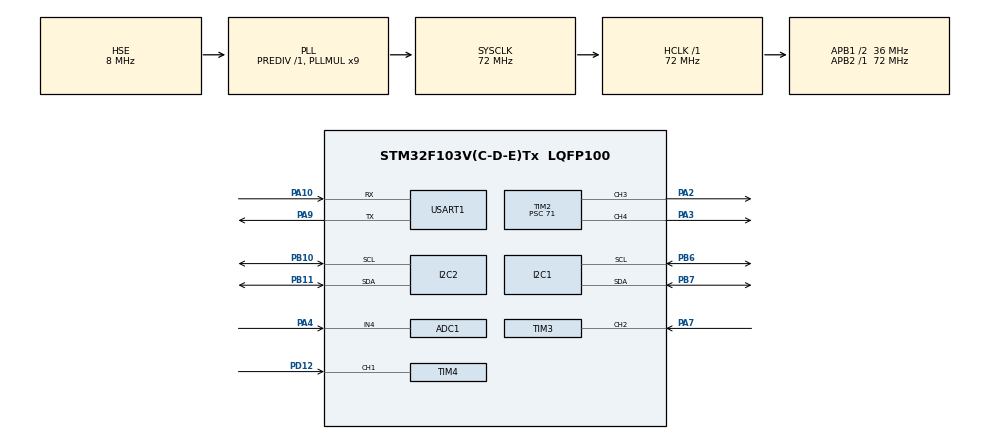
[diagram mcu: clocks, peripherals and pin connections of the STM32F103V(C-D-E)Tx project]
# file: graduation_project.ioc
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ADC1.Channel-4\#ChannelRegularConversion=ADC_CHANNEL_4
ADC1.ContinuousConvMode=ENABLE
ADC1.EnableInjectedConversion=DISABLE
ADC1.NbrOfConversionFlag=1
ADC1.Rank-4\#ChannelRegularConversion=1
ADC1.SamplingTime-4\#ChannelRegularConversion=ADC_SAMPLETIME_239CYCLES_5
ADC1.master=1
Dma.Request0=USART1_TX
Dma.Request1=USART1_RX
Dma.USART1_RX.1.Direction=DMA_PERIPH_TO_MEMORY
Dma.USART1_RX.1.Instance=DMA1_Channel5
Dma.USART1_RX.1.MemDataAlignment=DMA_MDATAALIGN_BYTE
Dma.USART1_RX.1.MemInc=DMA_MINC_ENABLE
Dma.USART1_RX.1.Mode=DMA_CIRCULAR
Dma.USART1_RX.1.PeriphDataAlignment=DMA_PDATAALIGN_BYTE
Dma.USART1_RX.1.PeriphInc=DMA_PINC_DISABLE
Dma.USART1_RX.1.Priority=DMA_PRIORITY_LOW
Dma.USART1_TX.0.Direction=DMA_MEMORY_TO_PERIPH
Dma.USART1_TX.0.Instance=DMA1_Channel4
Dma.USART1_TX.0.MemDataAlignment=DMA_MDATAALIGN_BYTE
Dma.USART1_TX.0.MemInc=DMA_MINC_ENABLE
Dma.USART1_TX.0.Mode=DMA_NORMAL
Dma.USART1_TX.0.PeriphDataAlignment=DMA_PDATAALIGN_BYTE
Dma.USART1_TX.0.PeriphInc=DMA_PINC_DISABLE
Dma.USART1_TX.0.Priority=DMA_PRIORITY_LOW
Mcu.Family=STM32F1
Mcu.Name=STM32F103V(C-D-E)Tx
Mcu.Package=LQFP100
NVIC.DMA1_Channel4_IRQn=true\:0\:0\:false\:false\:true\:false\:true
NVIC.DMA1_Channel5_IRQn=true\:0\:0\:false\:false\:true\:false\:true
NVIC.I2C1_EV_IRQn=true\:0\:0\:false\:false\:true\:true\:true
NVIC.I2C2_EV_IRQn=true\:0\:0\:false\:false\:true\:true\:true
NVIC.PriorityGroup=NVIC_PRIORITYGROUP_4
NVIC.TIM3_IRQn=true\:12\:0\:true\:false\:true\:true\:true
NVIC.TIM4_IRQn=true\:11\:0\:true\:false\:true\:true\:true
NVIC.USART1_IRQn=true\:0\:0\:false\:false\:true\:true\:true
OSC_IN.Mode=HSE-External-Oscillator
OSC_IN.Signal=RCC_OSC_IN
OSC_OUT.Mode=HSE-External-Oscillator
OSC_OUT.Signal=RCC_OSC_OUT
PA10.Mode=Asynchronous
PA10.Signal=USART1_RX
PA13.Mode=Serial_Wire
PA13.Signal=SYS_JTMS-SWDIO
PA14.Mode=Serial_Wire
PA14.Signal=SYS_JTCK-SWCLK
PA2.Signal=S_TIM2_CH3
PA3.Signal=S_TIM2_CH4
PA4.Signal=ADCx_IN4
PA7.GPIO_PuPd=GPIO_PULLDOWN
PA7.Signal=S_TIM3_CH2
PA9.Mode=Asynchronous
PA9.Signal=USART1_TX
PB10.Mode=I2C
PB10.Signal=I2C2_SCL
PB11.Mode=I2C
PB11.Signal=I2C2_SDA
PB6.Mode=I2C
PB6.Signal=I2C1_SCL
PB7.Mode=I2C
PB7.Signal=I2C1_SDA
PD12.Signal=S_TIM4_CH1
ProjectManager.HeapSize=0x200
ProjectManager.StackSize=0x400
ProjectManager.TargetToolchain=MDK-ARM V5.32
RCC.ADCPresc=RCC_ADCPCLK2_DIV6
RCC.AHBFreq_Value=72000000
RCC.APB1CLKDivider=RCC_HCLK_DIV2
RCC.APB1Freq_Value=36000000
RCC.APB1TimFreq_Value=72000000
RCC.APB2Freq_Value=72000000
RCC.APB2TimFreq_Value=72000000
RCC.HCLKFreq_Value=72000000
RCC.PLLMUL=RCC_PLL_MUL9
RCC.PLLSourceVirtual=RCC_PLLSOURCE_HSE
RCC.SYSCLKFreq_VALUE=72000000
RCC.SYSCLKSource=RCC_SYSCLKSOURCE_PLLCLK
RCC.USBFreq_Value=72000000
SH.ADCx_IN4.0=ADC1_IN4,IN4
SH.S_TIM2_CH3.0=TIM2_CH3,PWM Generation3 CH3
SH.S_TIM2_CH4.0=TIM2_CH4,PWM Generation4 CH4
SH.S_TIM3_CH2.0=TIM3_CH2,Input_Capture2_from_TI2
SH.S_TIM4_CH1.0=TIM4_CH1,Input_Capture1_from_TI1
TIM2.Channel-PWM\ Generation3\ CH3=TIM_CHANNEL_3
TIM2.Channel-PWM\ Generation4\ CH4=TIM_CHANNEL_4
TIM2.Period=499
TIM2.Prescaler=71
TIM3.AutoReloadPreload=TIM_AUTORELOAD_PRELOAD_ENABLE
TIM3.Channel-Input_Capture2_from_TI2=TIM_CHANNEL_2
TIM3.ICFilter_CH2=0
TIM3.Period=65535
TIM3.Prescaler=71
TIM4.Channel-Input_Capture1_from_TI1=TIM_CHANNEL_1
TIM4.Period=10000-1
TIM4.Prescaler=71
USART1.VirtualMode=VM_ASYNC
VP_TIM2_VS_ClockSourceINT.Mode=Internal
VP_TIM3_VS_ClockSourceINT.Mode=Internal
VP_TIM4_VS_ClockSourceINT.Mode=Internal
board=custom

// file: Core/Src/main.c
/* USER CODE BEGIN Header */
/**
 ******************************************************************************
 * @file           : main.c
 * @brief          : Main program body
 ******************************************************************************
 * @attention
 *
 * Copyright (c) 2022 STMicroelectronics.
 * All rights reserved.
 *
 * This software is licensed under terms that can be found in the LICENSE file
 * in the root directory of this software component.
 * If no LICENSE file comes with this software, it is provided AS-IS.
 *
 ******************************************************************************
 */
/* USER CODE END Header */
#include "main.h"
#include "adc.h"
#include "dma.h"
#include "i2c.h"
#include "tim.h"
#include "usart.h"
#include "gpio.h"

/* USER CODE BEGIN Includes */
#include "DewSensor.h"
#include "pid.h"
#include "WaterPump.h"
#include "AHT10.h"
#include "TypeConversion.h"
#include "stdio.h"
#include "SerialDebug.h"
#include "Filter.h"
#include "FlowSensor.h"
/* USER CODE END Includes */

/* USER CODE BEGIN PV */
uint16_t duty = 0;
uint16_t duty1 = 10;
float DewSensor_humidity, DewSensor_resister, humidity;
uint8_t humidity_int = 0;
float AHT10_humidity, AHT10_temperature;
Pid_T pid;
float pid_Set = 55;
float region = 2;
AveFilter Filter;
float flowrate;
/* USER CODE END PV */

void SystemClock_Config(void);

int main(void)
{

  /* MCU Configuration--------------------------------------------------------*/

  /* Reset of all peripherals, Initializes the Flash interface and the Systick. */
  HAL_Init();

  /* Configure the system clock */
  SystemClock_Config();

  /* Initialize all configured peripherals */
  MX_GPIO_Init();
  MX_TIM2_Init();
  MX_I2C1_Init();
  MX_ADC1_Init();
  MX_DMA_Init();
  MX_USART1_UART_Init();
  MX_I2C2_Init();
  MX_TIM3_Init();
  MX_TIM4_Init();
  /* USER CODE BEGIN 2 */

  DewSensor_Init();
  AHT10_Init();
  PidInit(&pid, -20, -0.1, 0, 100, 100);
  WaterPump_Init();
  AverageFilterInit(&Filter);
  Flowsensor_Init(&capturecal);
  //	Serial_Debug_Init(&huart1);
  /* USER CODE END 2 */

  /* Infinite loop */
  while (1)
  {

    /* USER CODE BEGIN 3 */
    DewSensor_GetData(&DewSensor_humidity, &DewSensor_resister);
    AHT10_Read_predata(&AHT10_humidity, &AHT10_temperature);
    //flowrate = Flowsensor_YFs401(&capturecal);
		flowrate = Flowsensor_PS2216(&capturecal);
    //    if (DewSensor_humidity >= 94)
    //      humidity = DewSensor_humidity;
    //    else if (DewSensor_humidity >= 92 && DewSensor_humidity < 94)
    //      humidity = (DewSensor_humidity + AHT10_humidity) / 2;
    //    else
    //      humidity = AHT10_humidity;

    // duty = (uint16_t)PidCalculate(&pid, pid_Set, AHT10_temperature);
    duty = (uint16_t)IntergralSeparationPTD(&pid, pid_Set, AHT10_temperature, region);
	  float DewSensor_later_resister = AverageFilter(&Filter, DewSensor_resister);
		//if(DewSensor_later_resister>=30)
    //duty1=3;
    WaterPump_Speed(&duty1);

    //  FloatToUint8(&humidity_int, &humidity, 1);

    //    HAL_UART_Transmit(&huart1, "X1=100,", sizeof("X1=100,"), 1000);
    //		printf("X2=100,");
    //    //    HAL_UART_Transmit(&huart1, &humidity_int, sizeof(humidity_int), 1000);
    //    //    HAL_UART_Transmit(&huart1, "\r\n", sizeof("\r\n"), 1000);

   // Serial_Debug(&huart1, 1, AHT10_temperature, duty, pid_Set, 0, 0, 0);
	 Serial_Debug(&huart1,1,AHT10_temperature,1,DewSensor_resister,50, 0, 0);
    HAL_Delay(100);
  }
  /* USER CODE END 3 */
}

void SystemClock_Config(void)
{
  RCC_OscInitTypeDef RCC_OscInitStruct = {0};
  RCC_ClkInitTypeDef RCC_ClkInitStruct = {0};
  RCC_PeriphCLKInitTypeDef PeriphClkInit = {0};

  /** Initializes the RCC Oscillators according to the specified parameters
  * in the RCC_OscInitTypeDef structure.
  */
  RCC_OscInitStruct.OscillatorType = RCC_OSCILLATORTYPE_HSE;
  RCC_OscInitStruct.HSEState = RCC_HSE_ON;
  RCC_OscInitStruct.HSEPredivValue = RCC_HSE_PREDIV_DIV1;
  RCC_OscInitStruct.HSIState = RCC_HSI_ON;
  RCC_OscInitStruct.PLL.PLLState = RCC_PLL_ON;
  RCC_OscInitStruct.PLL.PLLSource = RCC_PLLSOURCE_HSE;
  RCC_OscInitStruct.PLL.PLLMUL = RCC_PLL_MUL9;
  if (HAL_RCC_OscConfig(&RCC_OscInitStruct) != HAL_OK)
  {
    Error_Handler();
  }
  /** Initializes the CPU, AHB and APB buses clocks
  */
  RCC_ClkInitStruct.ClockType = RCC_CLOCKTYPE_HCLK|RCC_CLOCKTYPE_SYSCLK
                              |RCC_CLOCKTYPE_PCLK1|RCC_CLOCKTYPE_PCLK2;
  RCC_ClkInitStruct.SYSCLKSource = RCC_SYSCLKSOURCE_PLLCLK;
  RCC_ClkInitStruct.AHBCLKDivider = RCC_SYSCLK_DIV1;
  RCC_ClkInitStruct.APB1CLKDivider = RCC_HCLK_DIV2;
  RCC_ClkInitStruct.APB2CLKDivider = RCC_HCLK_DIV1;

  if (HAL_RCC_ClockConfig(&RCC_ClkInitStruct, FLASH_LATENCY_2) != HAL_OK)
  {
    Error_Handler();
  }
  PeriphClkInit.PeriphClockSelection = RCC_PERIPHCLK_ADC;
  PeriphClkInit.AdcClockSelection = RCC_ADCPCLK2_DIV6;
  if (HAL_RCCEx_PeriphCLKConfig(&PeriphClkInit) != HAL_OK)
  {
    Error_Handler();
  }
}

void Error_Handler(void)
{
  __disable_irq();
  while (1)
  {
  }
}
